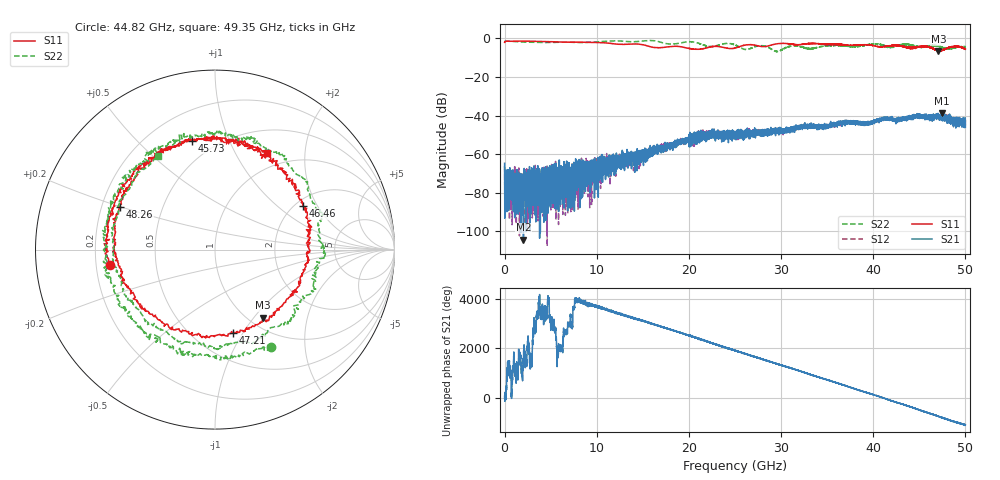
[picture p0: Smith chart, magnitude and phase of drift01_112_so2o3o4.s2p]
!Created with skrf (http://scikit-rf.org).
# Hz S RI R 50.0
!freq ReS11 ImS11 ReS21 ImS21 ReS12 ImS12 ReS22 ImS22
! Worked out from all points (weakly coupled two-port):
!   10001 points, 300 kHz to 50 GHz, reference 50 ohm
!   highest |S21| = -38.78 dB at 47.43 GHz (marker M1); lowest = -104.4 dB at 2.045 GHz (marker M2)
!   lowest |S11| = -6.7 dB at 47.07 GHz (marker M3), VSWR 2.73, Z = 57.7 - j55.8 ohm
!   |S11| at or under -10 dB: nowhere
!   |S22| runs from -6.8 to -1.0 dB; largest |S21 - S12| = 0.0035
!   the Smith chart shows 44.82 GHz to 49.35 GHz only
!   S11 on the Smith chart (normalised r, x): 44.82 GHz: 0.26, -0.07; 45.73 GHz: 0.38, +0.74; 46.46 GHz: 2.20, +1.53; 47.21 GHz: 0.76, -0.90; 48.26 GHz: 0.28, +0.20; 49.35 GHz: 0.79, +1.36
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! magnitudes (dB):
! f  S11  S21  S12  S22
! 300 kHz  -2.1  -64.8  -66.3  -1.3
! 260.3 MHz  -1.4  -78.5  -76.5  -1.4
! 2.045 GHz  -1.4  -104.4  -72.3  -1.9
! 6.26 GHz  -1.9  -69.8  -71.4  -1.9
! 8.335 GHz  -1.9  -72.7  -68.6  -2.1
! 16.67 GHz  -4.8  -57.0  -58.0  -1.6
! 21.53 GHz  -5.3  -50.6  -48.6  -3.3
! 25 GHz  -5.0  -49.6  -51.0  -3.4
! 28.09 GHz  -4.2  -48.6  -48.9  -3.8
! 29.52 GHz  -2.8  -48.7  -47.8  -6.7
! 31.31 GHz  -3.0  -46.7  -47.3  -3.9
! 33.34 GHz  -2.6  -45.4  -45.4  -5.5
! 41.67 GHz  -3.9  -41.3  -41.9  -4.5
! 44.82 GHz  -4.6  -41.4  -40.1  -4.1
! 45.73 GHz  -4.1  -41.1  -40.7  -4.4
! 46.46 GHz  -5.2  -40.7  -40.4  -3.8
! 47.07 GHz  -6.7  -41.3  -40.2  -4.2
! 47.21 GHz  -6.5  -39.7  -39.8  -4.4
! 47.43 GHz  -6.4  -38.8  -40.3  -4.4
! 48.26 GHz  -4.7  -39.5  -41.4  -5.1
! 49.35 GHz  -4.3  -43.6  -42.0  -4.3
! 50 GHz  -5.5  -46.1  -43.6  -4.2
